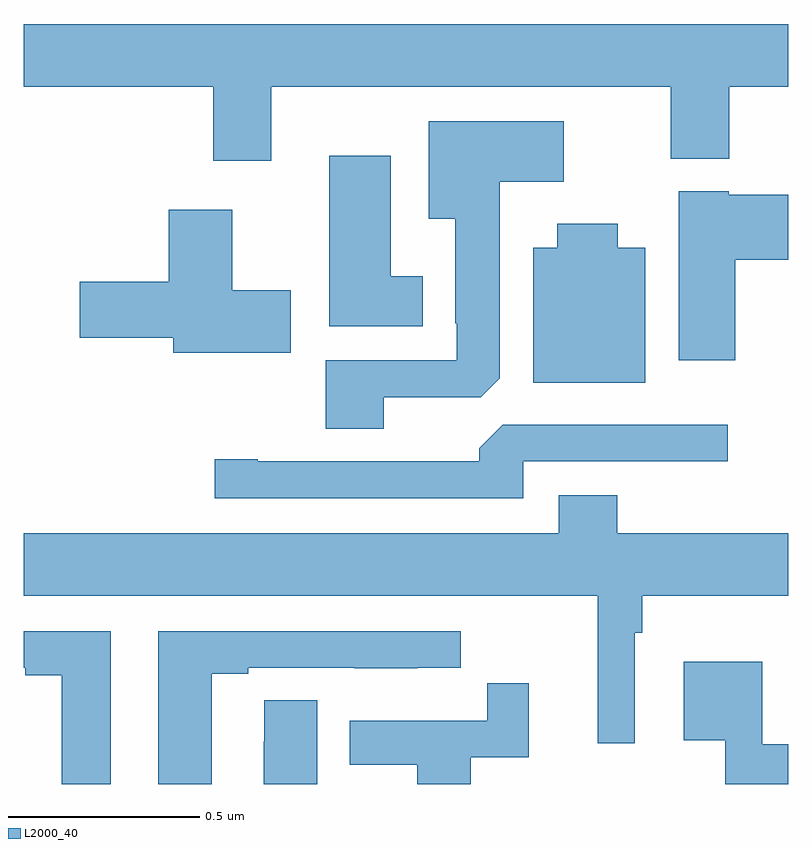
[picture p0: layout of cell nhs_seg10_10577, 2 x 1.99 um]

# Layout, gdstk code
import gdstk
lib = gdstk.Library(unit=1e-6, precision=1e-09)
def P(c, l, *ps):  # polygons
    for p in ps: c.add(gdstk.Polygon(p, *l))
L2000_40 = (2000, 40)

nhs_seg10_10577 = lib.new_cell('nhs_seg10_10577')
P(nhs_seg10_10577, L2000_40, [(244.648,1292.324),(245.693,1292.324),(245.693,1292.135),(245.846,1292.135),(245.846,1292.324),(246,1292.324),(246,1292.488),(244,1292.488),(244,1292.324),(244.496,1292.324),(244.496,1292.13),(244.648,1292.13)],
  [(244.942,1291.512),(245.196,1291.512),(245.245,1291.561),(245.245,1292.075),(245.413,1292.075),(245.413,1292.233),(245.06,1292.233),(245.06,1291.979),(245.129,1291.979),(245.129,1291.705),(245.133,1291.705),(245.133,1291.608),(244.79,1291.608),(244.79,1291.429),(244.942,1291.429)],
  [(245.044,1291.828),(244.96,1291.828),(244.96,1292.143),(244.799,1292.143),(244.799,1291.697),(245.044,1291.697)],
  [(245.861,1291.871),(246,1291.871),(246,1292.041),(245.844,1292.041),(245.844,1292.05),(245.714,1292.05),(245.714,1291.608),(245.861,1291.608)],
  [(244.699,1291.791),(244.546,1291.791),(244.546,1292.002),(244.379,1292.002),(244.379,1291.814),(244.146,1291.814),(244.146,1291.667),(244.391,1291.667),(244.391,1291.628),(244.699,1291.628)],
  [(245.626,1291.903),(245.554,1291.903),(245.554,1291.966),(245.396,1291.966),(245.396,1291.903),(245.333,1291.903),(245.333,1291.55),(245.626,1291.55)],
  [(245.307,1291.344),(245.842,1291.344),(245.842,1291.44),(245.253,1291.44),(245.192,1291.378),(245.192,1291.344),(244.612,1291.344),(244.612,1291.349),(244.5,1291.349),(244.5,1291.248),(245.307,1291.248)],
  [(245.598,1290.896),(245.618,1290.896),(245.618,1290.992),(246,1290.992),(246,1291.156),(245.552,1291.156),(245.552,1291.255),(245.399,1291.255),(245.399,1291.156),(244,1291.156),(244,1290.992),(245.501,1290.992),(245.501,1290.606),(245.598,1290.606)],
  [(244.492,1290.789),(244.588,1290.789),(244.588,1290.804),(244.864,1290.804),(244.864,1290.803),(245.03,1290.803),(245.03,1290.804),(245.143,1290.804),(245.143,1290.9),(244.352,1290.9),(244.352,1290.5),(244.492,1290.5)],
  [(244.228,1290.9),(244,1290.9),(244,1290.804),(244.004,1290.804),(244.004,1290.784),(244.1,1290.784),(244.1,1290.5),(244.228,1290.5)],
  [(246,1290.604),(245.932,1290.604),(245.932,1290.82),(245.726,1290.82),(245.726,1290.614),(245.835,1290.614),(245.835,1290.5),(246,1290.5)],
  [(245.17,1290.57),(245.321,1290.57),(245.321,1290.763),(245.212,1290.763),(245.212,1290.666),(244.853,1290.666),(244.853,1290.55),(245.03,1290.55),(245.03,1290.5),(245.17,1290.5)],
  [(244.768,1290.719),(244.629,1290.719),(244.629,1290.611),(244.628,1290.611),(244.628,1290.5),(244.768,1290.5)])

lib.write_gds('nhs_seg10_10577.gds')
